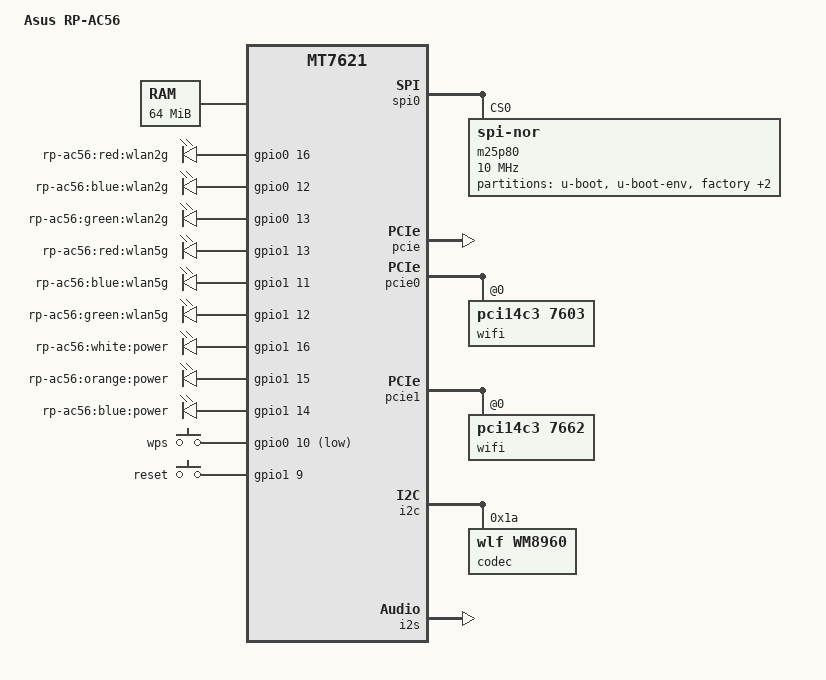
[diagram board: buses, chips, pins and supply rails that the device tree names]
/dts-v1/;

#include "mt7621.dtsi"

#include <dt-bindings/gpio/gpio.h>
#include <dt-bindings/input/input.h>

/ {
	compatible = "asus,rp-ac56", "mediatek,mt7621-soc";
	model = "Asus RP-AC56";

	aliases {
		led-boot = &led_power_orange;
		led-failsafe = &led_power_orange;
		led-running = &led_power_white;
		led-upgrade = &led_power_blue;
	};

	memory@0 {
		device_type = "memory";
		reg = <0x0 0x4000000>;
	};

	chosen {
		bootargs = "console=ttyS0,57600";
	};

	leds {
		compatible = "gpio-leds";

		wlan2g_red {
			label = "rp-ac56:red:wlan2g";
			gpios = <&gpio0 16 GPIO_ACTIVE_HIGH>;
		};

		wlan2g_blue {
			label = "rp-ac56:blue:wlan2g";
			gpios = <&gpio0 12 GPIO_ACTIVE_HIGH>;
		};

		wlan2g_green {
			label = "rp-ac56:green:wlan2g";
			gpios = <&gpio0 13 GPIO_ACTIVE_HIGH>;
		};

		wlan5g_red {
			label = "rp-ac56:red:wlan5g";
			gpios = <&gpio1 13 GPIO_ACTIVE_HIGH>;
		};

		wlan5g_blue {
			label = "rp-ac56:blue:wlan5g";
			gpios = <&gpio1 11 GPIO_ACTIVE_HIGH>;
		};

		wlan5g_green {
			label = "rp-ac56:green:wlan5g";
			gpios = <&gpio1 12 GPIO_ACTIVE_HIGH>;
		};

		led_power_white: power_white {
			label = "rp-ac56:white:power";
			gpios = <&gpio1 16 GPIO_ACTIVE_HIGH>;
		};

		led_power_orange: power_orange {
			label = "rp-ac56:orange:power";
			gpios = <&gpio1 15 GPIO_ACTIVE_HIGH>;
		};

		led_power_blue: power_blue {
			label = "rp-ac56:blue:power";
			gpios = <&gpio1 14 GPIO_ACTIVE_HIGH>;
		};
	};

	keys {
		compatible = "gpio-keys-polled";
		poll-interval = <20>;

		wps {
			label = "wps";
			gpios = <&gpio0 10 GPIO_ACTIVE_LOW>;
			linux,code = <KEY_WPS_BUTTON>;
		};

		reset {
			label = "reset";
			gpios = <&gpio1 9 GPIO_ACTIVE_HIGH>;
			linux,code = <KEY_RESTART>;
		};
	};

	sound {
		compatible = "simple-audio-card";
		simple-audio-card,name = "Audio-I2S";
		simple-audio-card,format = "i2s";
		simple-audio-card,bitclock-master = <&dailink0_master>;
		simple-audio-card,frame-master = <&dailink0_master>;
		simple-audio-card,routing =
			"Headphone Jack", "HP_L",
			"Headphone Jack", "HP_R";
		simple-audio-card,mclk-fs = <256>;

		simple-audio-card,cpu {
			sound-dai = <&i2s>;
		};

		dailink0_master: simple-audio-card,codec {
			sound-dai = <&codec>;
		};
	};
};

&gpio1 {
	status = "okay";
};

&spi0 {
	status = "okay";

	m25p80@0 {
		compatible = "jedec,spi-nor";
		reg = <0>;
		spi-max-frequency = <10000000>;

		partitions {
			compatible = "fixed-partitions";
			#address-cells = <1>;
			#size-cells = <1>;

			partition@0 {
				label = "u-boot";
				reg = <0x0 0x30000>;
				read-only;
			};

			partition@30000 {
				label = "u-boot-env";
				reg = <0x30000 0x10000>;
				read-only;
			};

			factory: partition@40000 {
				label = "factory";
				reg = <0x40000 0x10000>;
				read-only;
			};

			partition@50000 {
				compatible = "asus,uimage";
				label = "firmware";
				reg = <0x50000 0xfa0000>;
			};

			radio: partition@ff0000 {
				label = "radio";
				reg = <0xff0000 0x10000>;
				read-only;
			};
		};
	};
};

&pinctrl {
	state_default: pinctrl0 {
		gpio {
			ralink,group = "uart2", "rgmii2";
			ralink,function = "gpio";
		};
	};
	i2s_pins: i2s {
		i2s {
			ralink,group = "uart3";
			ralink,function = "i2s";
		};
	};
};

&pcie {
	status = "okay";
};

&pcie0 {
	wifi@0,0 {
		compatible = "pci14c3,7603";
		reg = <0x0000 0 0 0 0>;
		mediatek,mtd-eeprom = <&factory 0x0000>;
		ieee80211-freq-limit = <2400000 2500000>;
	};
};

&pcie1 {
	wifi@0,0 {
		compatible = "pci14c3,7662";
		reg = <0x0000 0 0 0 0>;
		mediatek,mtd-eeprom = <&factory 0x8000>;
		ieee80211-freq-limit = <5000000 6000000>;
	};
};

&ethernet {
	mtd-mac-address = <&factory 0x4>;
};

&xhci {
	status = "disabled";
};

&i2c {
	status = "okay";

	codec: wm8960@1a {
		#sound-dai-cells = <0>;
		compatible = "wlf,wm8960";
		reg = <0x1a>;
		wlf,shared-lrclk;
	};
};

&gdma {
	status = "okay";
};

&i2s {
	#sound-dai-cells = <0>;
	status = "okay";
	pinctrl-names = "default";
	pinctrl-0 = <&i2s_pins>;
};

